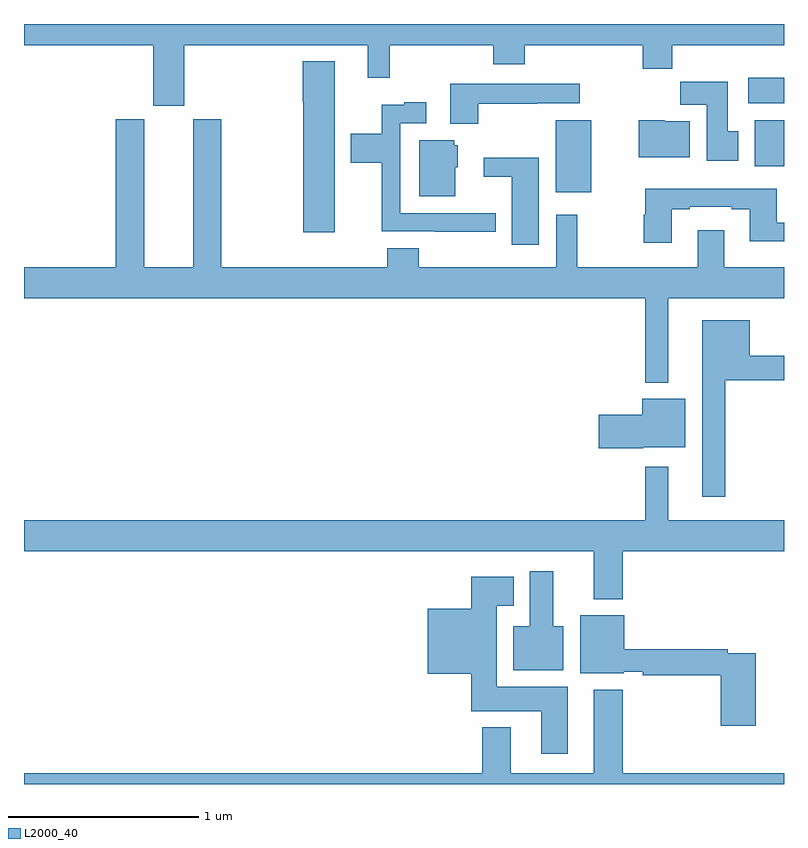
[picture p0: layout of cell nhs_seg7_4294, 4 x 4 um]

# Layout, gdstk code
import gdstk
lib = gdstk.Library(unit=1e-6, precision=1e-09)
def R(c, l, rs):  # rectangles x0, y0, x1, y1
    for r in rs: c.add(gdstk.rectangle(r[:2], r[2:], *l))
def P(c, l, *ps):  # polygons
    for p in ps: c.add(gdstk.Polygon(p, *l))
L2000_40 = (2000, 40)

nhs_seg7_4294 = lib.new_cell('nhs_seg7_4294')
R(nhs_seg7_4294, L2000_40, [(383.798,1061.114,383.986,1061.494), (384.845,1061.252,385,1061.494), (384.813,1061.582,385,1061.716)])
P(nhs_seg7_4294, L2000_40, [(381.844,1061.888),(382.808,1061.888),(382.808,1061.718),(382.925,1061.718),(382.925,1061.888),(383.471,1061.888),(383.471,1061.789),(383.636,1061.789),(383.636,1061.888),(384.257,1061.888),(384.257,1061.764),(384.413,1061.764),(384.413,1061.888),(385,1061.888),(385,1062),(381,1062),(381,1061.888),(381.68,1061.888),(381.68,1061.571),(381.844,1061.571)],
  [(382.636,1061.803),(382.466,1061.803),(382.466,1061.59),(382.471,1061.59),(382.471,1060.905),(382.636,1060.905)],
  [(384.76,1061.436),(384.703,1061.436),(384.703,1061.695),(384.454,1061.695),(384.454,1061.576),(384.593,1061.576),(384.593,1061.28),(384.76,1061.28)],
  [(383.391,1061.58),(383.702,1061.58),(383.702,1061.582),(383.926,1061.582),(383.926,1061.686),(383.243,1061.686),(383.243,1061.474),(383.391,1061.474)],
  [(383.482,1061.004),(382.98,1061.004),(382.98,1061.478),(383.116,1061.478),(383.116,1061.587),(383.002,1061.587),(383.002,1061.575),(382.882,1061.575),(382.882,1061.422),(382.721,1061.422),(382.721,1061.27),(382.882,1061.27),(382.882,1060.908),(383.161,1060.908),(383.161,1060.907),(383.482,1060.907)],
  [(384.391,1060.556),(385,1060.556),(385,1060.72),(384.685,1060.72),(384.685,1060.915),(384.545,1060.915),(384.545,1060.72),(383.911,1060.72),(383.911,1060.996),(383.802,1060.996),(383.802,1060.72),(383.078,1060.72),(383.078,1060.819),(382.913,1060.819),(382.913,1060.72),(382.038,1060.72),(382.038,1061.499),(381.89,1061.499),(381.89,1060.72),(381.634,1060.72),(381.634,1061.499),(381.482,1061.499),(381.482,1060.72),(381,1060.72),(381,1060.556),(384.27,1060.556),(384.27,1060.112),(384.391,1060.112)],
  [(384.505,1061.488),(384.372,1061.488),(384.372,1061.494),(384.236,1061.494),(384.236,1061.3),(384.505,1061.3)],
  [(383.269,1061.247),(383.284,1061.247),(383.284,1061.361),(383.265,1061.361),(383.265,1061.389),(383.081,1061.389),(383.081,1061.093),(383.269,1061.093)],
  [(383.71,1061.297),(383.421,1061.297),(383.421,1061.195),(383.567,1061.195),(383.567,1060.839),(383.71,1060.839)],
  [(384.409,1061.025),(384.505,1061.025),(384.505,1061.037),(384.725,1061.037),(384.725,1061.025),(384.821,1061.025),(384.821,1060.856),(385,1060.856),(385,1060.953),(384.961,1060.953),(384.961,1061.134),(384.269,1061.134),(384.269,1060.995),(384.262,1060.995),(384.262,1060.848),(384.409,1060.848)],
  [(384.691,1060.126),(385,1060.126),(385,1060.255),(384.82,1060.255),(384.82,1060.441),(384.569,1060.441),(384.569,1059.513),(384.691,1059.513)],
  [(384.258,1059.773),(384.481,1059.773),(384.481,1060.027),(384.254,1060.027),(384.254,1059.944),(384.024,1059.944),(384.024,1059.766),(384.258,1059.766)],
  [(384.152,1059.224),(385,1059.224),(385,1059.388),(384.391,1059.388),(384.391,1059.67),(384.27,1059.67),(384.27,1059.388),(381,1059.388),(381,1059.224),(383.999,1059.224),(383.999,1058.972),(384.152,1058.972)],
  [(383.839,1058.83),(383.785,1058.83),(383.785,1059.121),(383.663,1059.121),(383.663,1058.83),(383.576,1058.83),(383.576,1058.6),(383.839,1058.6)],
  [(383.863,1058.512),(383.488,1058.512),(383.488,1058.939),(383.578,1058.939),(383.578,1059.091),(383.354,1059.091),(383.354,1058.923),(383.126,1058.923),(383.126,1058.579),(383.354,1058.579),(383.354,1058.384),(383.723,1058.384),(383.723,1058.16),(383.863,1058.16)],
  [(384.851,1058.688),(384.704,1058.688),(384.704,1058.708),(384.16,1058.708),(384.16,1058.887),(383.927,1058.887),(383.927,1058.582),(384.156,1058.582),(384.156,1058.592),(384.256,1058.592),(384.256,1058.572),(384.668,1058.572),(384.668,1058.307),(384.851,1058.307)],
  [(385,1058.056),(384.152,1058.056),(384.152,1058.497),(383.999,1058.497),(383.999,1058.056),(383.563,1058.056),(383.563,1058.299),(383.411,1058.299),(383.411,1058.056),(381,1058.056),(381,1058),(385,1058)])

lib.write_gds('nhs_seg7_4294.gds')
